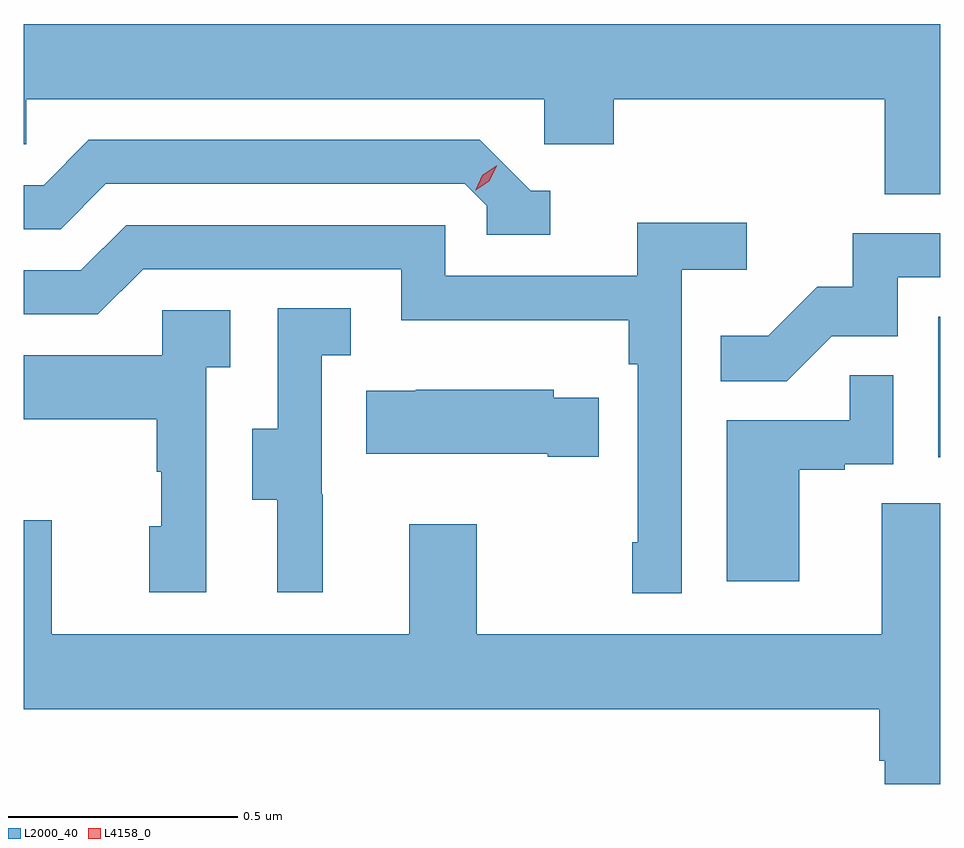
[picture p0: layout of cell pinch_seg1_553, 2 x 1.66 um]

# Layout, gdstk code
import gdstk
lib = gdstk.Library(unit=1e-6, precision=1e-09)
def R(c, l, rs):  # rectangles x0, y0, x1, y1
    for r in rs: c.add(gdstk.rectangle(r[:2], r[2:], *l))
def P(c, l, *ps):  # polygons
    for p in ps: c.add(gdstk.Polygon(p, *l))
L2000_40 = (2000, 40)
L4158_0 = (4158, 0)

pinch_seg1_553 = lib.new_cell('pinch_seg1_553')
R(pinch_seg1_553, L2000_40, [(1037.6,524.31,1037.604,524.617)])
P(pinch_seg1_553, L2000_40, [(1037.604,525.256),(1035.604,525.256),(1035.604,524.994),(1035.609,524.994),(1035.609,525.092),(1036.74,525.092),(1036.74,524.994),(1036.892,524.994),(1036.892,525.092),(1037.483,525.092),(1037.483,524.884),(1037.604,524.884)],
  [(1036.753,524.892),(1036.71,524.892),(1036.599,525.003),(1035.746,525.003),(1035.647,524.904),(1035.604,524.904),(1035.604,524.808),(1035.684,524.808),(1035.783,524.907),(1036.566,524.907),(1036.614,524.859),(1036.614,524.796),(1036.753,524.796)],
  [(1037.04,524.72),(1037.182,524.72),(1037.182,524.822),(1036.943,524.822),(1036.943,524.706),(1036.524,524.706),(1036.524,524.817),(1035.827,524.817),(1035.728,524.718),(1035.604,524.718),(1035.604,524.622),(1035.765,524.622),(1035.864,524.721),(1036.428,524.721),(1036.428,524.609),(1036.924,524.609),(1036.924,524.513),(1036.944,524.513),(1036.944,524.125),(1036.932,524.125),(1036.932,524.013),(1037.04,524.013)],
  [(1037.367,524.574),(1037.511,524.574),(1037.511,524.703),(1037.604,524.703),(1037.604,524.799),(1037.413,524.799),(1037.413,524.682),(1037.336,524.682),(1037.229,524.575),(1037.125,524.575),(1037.125,524.476),(1037.269,524.476)],
  [(1036.256,524.229),(1036.254,524.229),(1036.254,524.533),(1036.318,524.533),(1036.318,524.636),(1036.158,524.636),(1036.158,524.373),(1036.103,524.373),(1036.103,524.218),(1036.157,524.218),(1036.157,524.016),(1036.256,524.016)],
  [(1036.002,524.507),(1036.054,524.507),(1036.054,524.631),(1035.906,524.631),(1035.906,524.533),(1035.604,524.533),(1035.604,524.393),(1035.894,524.393),(1035.894,524.279),(1035.904,524.279),(1035.904,524.16),(1035.878,524.16),(1035.878,524.016),(1036.002,524.016)],
  [(1037.296,524.283),(1037.396,524.283),(1037.396,524.295),(1037.502,524.295),(1037.502,524.489),(1037.407,524.489),(1037.407,524.391),(1037.138,524.391),(1037.138,524.04),(1037.296,524.04)],
  [(1036.859,524.44),(1036.761,524.44),(1036.761,524.458),(1036.459,524.458),(1036.459,524.455),(1036.351,524.455),(1036.351,524.318),(1036.748,524.318),(1036.748,524.311),(1036.859,524.311)],
  [(1037.477,523.924),(1036.593,523.924),(1036.593,524.164),(1036.445,524.164),(1036.445,523.924),(1035.665,523.924),(1035.665,524.173),(1035.604,524.173),(1035.604,523.76),(1037.471,523.76),(1037.471,523.648),(1037.483,523.648),(1037.483,523.597),(1037.604,523.597),(1037.604,524.21),(1037.477,524.21)])
P(pinch_seg1_553, L4158_0, [(1036.59,524.893),(1036.59,524.894),(1036.605,524.926),(1036.635,524.947),(1036.636,524.947),(1036.636,524.946),(1036.62,524.913),(1036.59,524.893)])

lib.write_gds('pinch_seg1_553.gds')
